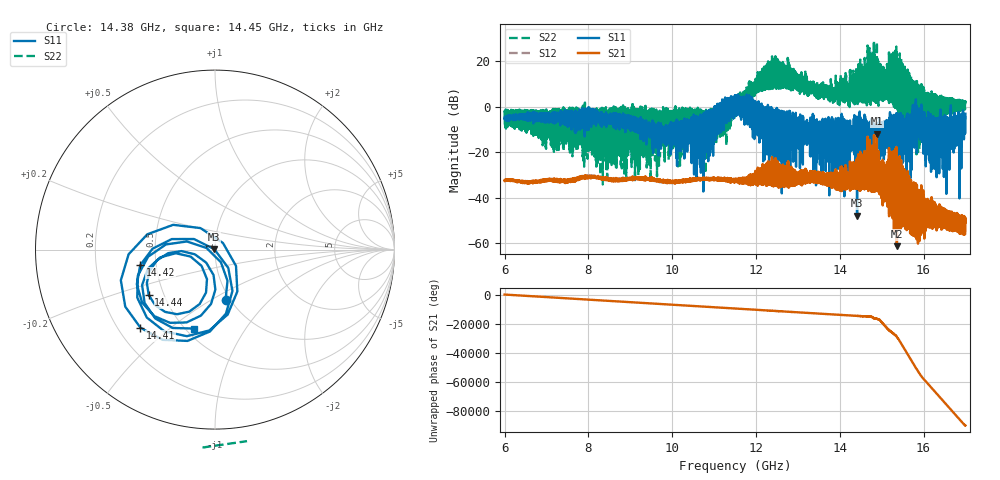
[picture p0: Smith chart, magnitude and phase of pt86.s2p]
#  HZ  S  RI  R  50.00
! Rohde & Schwarz Vector Network Analyzer
! Rohde-Schwarz,ZNA67-2Port,1332450062101215,3.01
! Created: UTC 10/19/2026, 10:25:52 AM
! freq[Hz]  re:S11  im:S11  re:S21  im:S21  re:S12  im:S12  re:S22  im:S22
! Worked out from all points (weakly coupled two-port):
!   11001 points, 6 GHz to 17 GHz, reference 50 ohm
!   highest |S21| = -11.87 dB at 14.89 GHz (marker M1); lowest = -61.3 dB at 15.37 GHz (marker M2)
!   lowest |S11| = -47.9 dB at 14.41 GHz (marker M3), VSWR 1.01, Z = 49.6 + j0.184 ohm
!   |S11| at or under -10 dB: 9.634863 GHz to 9.653117 GHz (18.25 MHz wide, 0.189 % of centre); 9.808827 GHz to 9.828116 GHz (19.29 MHz wide, 0.196 % of centre); 13.60889 GHz to 13.62618 GHz (17.29 MHz wide, 0.127 % of centre) (the widest 3 of 537)
!   |S22| runs from -34.2 to 29.1 dB; largest |S21 - S12| = 0.0084
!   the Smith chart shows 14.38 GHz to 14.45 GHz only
!   S11 on the Smith chart (normalised r, x): 14.38 GHz: 0.95, -0.58; 14.41 GHz: 0.29, -0.40; 14.42 GHz: 0.41, -0.09; 14.44 GHz: 0.41, -0.26; 14.45 GHz: 0.55, -0.61
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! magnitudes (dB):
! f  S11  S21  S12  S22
! 6 GHz  -5.4  -32.4  -32.4  -4.8
! 7.834 GHz  -6.1  -31.0  -30.9  -1.4
! 8.952 GHz  -9.5  -32.2  -32.2  -6.4
! 9.667 GHz  -7.4  -32.4  -32.6  -2.3
! 10.74 GHz  -3.4  -32.1  -32.1  -2.7
! 11.5 GHz  4.9  -31.8  -31.7  -0.5
! 12.43 GHz  -1.8  -32.2  -32.1  10.8
! 13.33 GHz  -11.5  -31.8  -31.8  8.0
! 14.38 GHz  -10.9  -27.4  -27.3  11.9
! 14.41 GHz  -4.4  -32.2  -32.2  7.3
! 14.41 GHz  -47.9  -33.8  -33.7  2.5
! 14.42 GHz  -7.4  -33.5  -33.5  3.7
! 14.44 GHz  -7.0  -35.9  -35.9  1.9
! 14.45 GHz  -6.8  -32.9  -32.8  6.5
! 14.89 GHz  -11.2  -11.9  -11.9  28.4
! 15.17 GHz  -14.8  -38.0  -38.0  7.1
! 15.37 GHz  -23.5  -61.3  -61.3  -0.2
! 15.68 GHz  -4.5  -37.5  -37.5  7.2
! 15.78 GHz  -11.4  -34.8  -34.7  10.8
! 16.32 GHz  -10.2  -53.8  -53.8  -5.5
! 16.91 GHz  -17.3  -49.5  -49.5  1.4
! 17 GHz  -3.1  -51.0  -50.9  1.8
